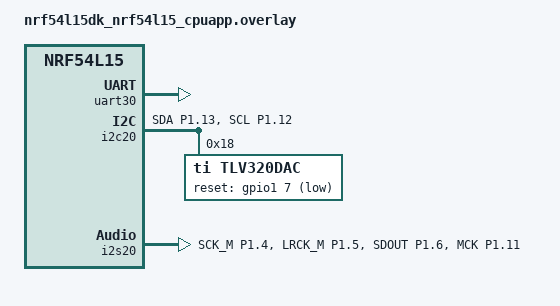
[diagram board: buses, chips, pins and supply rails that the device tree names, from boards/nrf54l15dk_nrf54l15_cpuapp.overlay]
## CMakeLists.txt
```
cmake_minimum_required(VERSION 3.20.0)

find_package(Zephyr REQUIRED HINTS $ENV{ZEPHYR_BASE})
project(NONE)

FILE(GLOB app_sources src/*.c)

target_sources(app PRIVATE ${app_sources})
```

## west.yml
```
manifest:
  # This west.yml requires west 0.12s or later, because the "import"
  # feature used below was introduced then.
  version: 0.12

  # "projects" is a list of git repositories which make up the project
  projects:
    - name: zephyr
      url: git@github-personal:stemschmidt/zephyr.git
      revision: tlv320dac3100
      import:
        name-allowlist:
          - cmsis
          - cmsis_6
          - hal_nordic
          - mbedtls
          - mbedtls-3.6
          - segger
          - tf-psa-crypto
          - zephyr
  
  self:
    # This repository should be cloned to application.
    path: application
```

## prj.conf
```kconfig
CONFIG_I2S=y
CONFIG_LED=y

CONFIG_AUDIO=y
CONFIG_AUDIO_CODEC=y
CONFIG_SAMPLE_FREQ=48000
CONFIG_I2S_INIT_BUFFERS=4
CONFIG_EXTRA_BLOCKS=0

CONFIG_LOG=y
CONFIG_UART_CONSOLE=y
CONFIG_LOG_BUFFER_SIZE=8192

# Gdb related configs
CONFIG_DEBUG_THREAD_INFO=y

# gcc setting
CONFIG_DEBUG_OPTIMIZATIONS=y

CONFIG_MAIN_STACK_SIZE=10240

CONFIG_AUDIO_CODEC_LOG_LEVEL_DBG=y
CONFIG_FPU=y
```

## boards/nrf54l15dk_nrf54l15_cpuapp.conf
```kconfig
CONFIG_NRFX_I2S=y
```

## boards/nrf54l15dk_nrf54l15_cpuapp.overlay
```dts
&{/chosen} {
    zephyr,console = &uart30;
    zephyr,shell-uart = &uart30;
};

/ {
     aliases {
            audio-codec = &tlv320dac;
            codec0 = &tlv320dac;
       		i2s-codec-tx = &i2s20;
     };
};

/* ---------------- PINCTRL ---------------- */
&pinctrl {

    /* I2C0 pins */
    i2c20_default: i2c20_default {
        group1 {
            psels = 
                <NRF_PSEL(TWIM_SDA, 1, 13)>,
                <NRF_PSEL(TWIM_SCL, 1, 12)>; /* clk pin! */
        };
    };

    /* I2S0 pins */
    i2s20_default: i2s20_default {
        group1 {
            psels = 
                <NRF_PSEL(I2S_SCK_M,  1, 4)>,
                <NRF_PSEL(I2S_LRCK_M, 1, 5)>,
                <NRF_PSEL(I2S_SDOUT,  1, 6)>,
                <NRF_PSEL(I2S_MCK,    1, 11)>; /* clk pin! */
        };
    };
};

&uart20 {
    status = "disabled";
};

&uart30 {
    status = "okay";
};

/* ---------- I2C ---------- */
&i2c20 {
    status = "okay";

    pinctrl-0 = <&i2c20_default>;
    pinctrl-names = "default";

    tlv320dac: tlv320dac@18 {
        status = "okay";

        compatible = "ti,tlv320dac";
        reg = <0x18>;
        reset-gpios = <&gpio1 7 GPIO_ACTIVE_LOW>;
        use-volume-control-pin;
        use-internal-pll-with-bclk;
    };
};

/* ---------- I2S ---------- */
&i2s20 {
    status = "okay";

    pinctrl-0 = <&i2s20_default>;
    pinctrl-names = "default";
};
```

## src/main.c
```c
#include <stdint.h>
#include <stddef.h>
#include <string.h>
#include <math.h>

#include <zephyr/audio/codec.h>
#include <zephyr/drivers/gpio.h>
#include <zephyr/drivers/i2s.h>
#include <zephyr/kernel.h>
#include <zephyr/sys/printk.h>

#define SAMPLE_BIT_WIDTH   16
#define NUMBER_OF_CHANNELS 2U
#define SAMPLES_PER_BLOCK  128U
#define BLOCK_SIZE         (SAMPLES_PER_BLOCK * sizeof(int16_t) * NUMBER_OF_CHANNELS)
#define BLOCK_COUNT        4U
#define TWO_POW_32         4294967296.0
#ifndef M_PI
#define M_PI ((double)3.14159265358979323846)
#endif

#define TEST_FREQ_DOUBLE 440.0

K_MEM_SLAB_DEFINE(mem_slab, BLOCK_SIZE, BLOCK_COUNT, 4);

/* LED toggles for each block write. */
#define LED0_NODE DT_ALIAS(led0)
static const struct gpio_dt_spec led = GPIO_DT_SPEC_GET(LED0_NODE, gpios);
#define I2S_CODEC_TX DT_ALIAS(i2s_codec_tx)
const struct device *i2s_dev;
#define AUDIO_CODEC DT_ALIAS(audio_codec)
const struct device *codec_dev;

typedef struct {
	int16_t l, r;
} frame_t;

/* Sine generator state. */
typedef struct {
	uint32_t phase;     /* 0 .. 2^32-1  relates to 0 .. 2*pi. */
	uint32_t phase_inc; /* Phase increment per sample. */
	int16_t amplitude;  /* Ampitude of the sine. */
} sine_gen_t;

static sine_gen_t gen;

/* Set frequency, sampling rate, amplitude. */
void sine_gen_set(sine_gen_t *g, double freq_hz, double fs_hz, int16_t amplitude)
{
	double cycles_per_sample = freq_hz / fs_hz;
	cycles_per_sample -= floor(cycles_per_sample);
	g->phase_inc = (uint32_t)(cycles_per_sample * TWO_POW_32);
	g->amplitude = amplitude;
}

/* Fill buffer with n frames (same value for both channels). */
void sine_gen_fill(sine_gen_t *g, frame_t *buf, size_t n)
{
	for (size_t i = 0; i < n; i++) {
		double angle = (double)g->phase * (2.0 * M_PI / TWO_POW_32);
		int16_t s = (int16_t)lrint(sin(angle) * g->amplitude);
		buf[i].l = s;
		buf[i].r = s;
		g->phase += g->phase_inc;
	}
}

/* Example:
 *
 *   static frame_t buffer[256];
 *   static sine_gen_t gen;
 *
 *   sine_gen_set(&gen, 1000.0, 48000.0, 30000);
 *   sine_gen_fill(&gen, buffer, 256);
 *
 */

static void audio_stream_loop(void)
{
	frame_t *samples = NULL;

	/* 1. Pre-fill buffer. */
	for (int i = 0; i < BLOCK_COUNT; i++) {
		void *mem_block;
		if (k_mem_slab_alloc(&mem_slab, &mem_block, K_FOREVER) < 0) {
			continue;
		}

		samples = (frame_t *)mem_block;
		sine_gen_fill(&gen, samples, SAMPLES_PER_BLOCK);

		if (i2s_write(i2s_dev, mem_block, BLOCK_SIZE) < 0) {
			printk("i2s_write failed during prefill\n");
		}
	}

	/* 2. Start I2S. */
	if (i2s_trigger(i2s_dev, I2S_DIR_TX, I2S_TRIGGER_START) < 0) {
		printk("I2S trigger start failed\n");
		return;
	}

	/* 3. Continuously generate new blocks. */
	while (1) {
		void *mem_block;

		if (k_mem_slab_alloc(&mem_slab, &mem_block, K_FOREVER) < 0) {
			continue;
		}

		samples = (frame_t *)mem_block;
		sine_gen_fill(&gen, samples, SAMPLES_PER_BLOCK);

		gpio_pin_toggle_dt(&led);

		if (i2s_write(i2s_dev, mem_block, BLOCK_SIZE) < 0) {
			printk("i2s_write failed\n");
		}
	}
}

int main(void)
{
	printk("Sine Test\n");

	sine_gen_set(&gen, TEST_FREQ_DOUBLE, (double)CONFIG_SAMPLE_FREQ, 30000);

	i2s_dev = DEVICE_DT_GET(I2S_CODEC_TX);
	if (!device_is_ready(i2s_dev)) {
		printk("I2S device not ready\n");
		return -1;
	}

	codec_dev = DEVICE_DT_GET(AUDIO_CODEC);
	if (!device_is_ready(codec_dev)) {
		printk("Audio codec not ready\n");
		return -1;
	}

	if (!gpio_is_ready_dt(&led)) {
		return 0;
	}

	gpio_pin_configure_dt(&led, GPIO_OUTPUT_ACTIVE);

	struct i2s_config cfg = {0};
	cfg.word_size = SAMPLE_BIT_WIDTH;
	cfg.channels = NUMBER_OF_CHANNELS;
	cfg.format = I2S_FMT_DATA_FORMAT_I2S;
	cfg.options = I2S_OPT_FRAME_CLK_CONTROLLER | I2S_OPT_BIT_CLK_CONTROLLER;
	cfg.frame_clk_freq = CONFIG_SAMPLE_FREQ;
	cfg.mem_slab = &mem_slab;
	cfg.block_size = BLOCK_SIZE;
	cfg.timeout = 2000U;

	if (i2s_configure(i2s_dev, I2S_DIR_TX, &cfg) < 0) {
		printk("I2S configure failed\n");
		return -1;
	}

	struct audio_codec_cfg codec_cfg = {
		.dai_type = AUDIO_DAI_TYPE_I2S,
		.dai_route = AUDIO_ROUTE_PLAYBACK,
		.dai_cfg.i2s =
			{
				.word_size = SAMPLE_BIT_WIDTH,
				.channels = NUMBER_OF_CHANNELS,
				.format = I2S_FMT_DATA_FORMAT_I2S,
				.options = I2S_OPT_BIT_CLK_TARGET | I2S_OPT_FRAME_CLK_TARGET,
				.frame_clk_freq = CONFIG_SAMPLE_FREQ,
			},
	};

	int ret = audio_codec_configure(codec_dev, &codec_cfg);

	if (ret < 0) {
		printk("Codec configure failed: %d\n", ret);
		return -1;
	}

	audio_codec_start_output(codec_dev);

	audio_stream_loop();

	return 0;
}
```
